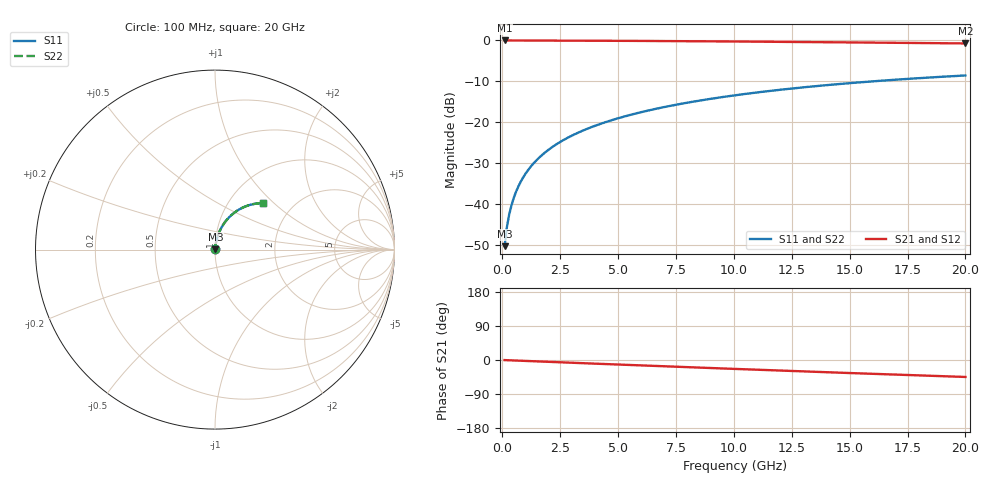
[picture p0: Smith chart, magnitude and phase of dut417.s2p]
! Touchstone file exported from HFSS 2026.1.0
!  File:  C:/ffzhzh/LocalFiles/Ansys_Project_Files/temp_train_TMRDL_417_1783005205_4048.aedt
!  Generated:  11:15:04 PM Jul  2, 2026
!  Design:  TMRDL
!  Project:  temp_train_TMRDL_417_1783005205_4048
! Variables:
!  h_bsmrdl = 2um
!  h_ox = 20um
!  h_rdl = 5um
!  h_sub = 80um
!  h_tmrdl = 5.68um
!  h_tsv = 80um
!  h_via = 3um
!  l_bsmrdl = 300um
!  l_sub = 1077.95um
!  l_tmrdl = 677.95um
!  m_sub = 200um
!  pitch = 56.86um
!  r_tsv = 6um
!  s_tmrdl = 10um
!  w_bsmrdl = 18um
!  w_sub = 500um
!  w_tmrdl = 27.27um
!  x_tsv_center1 = 691.585um
!  x_tsv_center2 = 1009.585um
!  x_tsv_center3 = 1714.805um
!  x_tsv_center4 = 2032.805um
!  x_tsv_center5 = 2738.025um
!  x_tsv_center6 = 3056.025um
# GHz S MA R 50.000000
! Terminal data exported
! Port[1] = TM_RDL1_1_T1
! Port[2] = TM_RDL1_1_T2
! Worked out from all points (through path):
!   200 points, 100 MHz to 20 GHz, reference 50 ohm
!   highest |S21| = -0.02 dB at 100 MHz (marker M1); lowest = -0.7 dB at 20 GHz (marker M2)
!   group delay of S21, straight-line fit = 6.22 ps
!   lowest |S11| = -50.2 dB at 100 MHz (marker M3), VSWR 1.01, Z = 50.2 + j0.253 ohm
!   |S11| at or under -10 dB: start of sweep to 15.99 GHz
!   |S22| runs from -50.2 to -8.6 dB; largest |S21 - S12| = 3.9e-14
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0.1  0.003079 55.1  0.9982 -0.3  0.9982 -0.3  0.003079 55.1
! Gamma 0 0 0 0
! Port Impedance 50 0 50 0
0.2  0.005291 68.4  0.9981 -0.5  0.9981 -0.5  0.005291 68.4
0.3  0.00754 73.7  0.998 -0.7  0.998 -0.7  0.00754 73.7
0.4  0.009798 76.6  0.9979 -1.0  0.9979 -1.0  0.009798 76.6
0.5  0.01207 78.4  0.9978 -1.2  0.9978 -1.2  0.01207 78.4
0.7  0.01664 80.4  0.9976 -1.7  0.9976 -1.7  0.01664 80.4
0.8  0.01893 81.0  0.9976 -2.0  0.9976 -2.0  0.01893 81.0
1  0.02353 81.6  0.9974 -2.4  0.9974 -2.4  0.02353 81.6
1.2  0.02812 81.9  0.9971 -2.9  0.9971 -2.9  0.02812 81.9
1.4  0.0327 81.9  0.9968 -3.4  0.9968 -3.4  0.0327 81.9
1.7  0.03955 81.7  0.9964 -4.1  0.9964 -4.1  0.03955 81.7
2  0.04636 81.3  0.9959 -4.9  0.9959 -4.9  0.04636 81.3
2.7  0.06208 80.1  0.9945 -6.5  0.9945 -6.5  0.06208 80.1
3.5  0.07974 78.5  0.9926 -8.4  0.9926 -8.4  0.07974 78.5
4.2  0.09495 77.0  0.9907 -10.1  0.9907 -10.1  0.09495 77.0
5  0.1121 75.3  0.9884 -12.0  0.9884 -12.0  0.1121 75.3
6.8  0.1496 71.5  0.9825 -16.1  0.9825 -16.1  0.1496 71.5
8.3  0.1799 68.2  0.9768 -19.6  0.9768 -19.6  0.1799 68.2
10.1  0.2147 64.4  0.9692 -23.7  0.9692 -23.7  0.2147 64.4
13.4  0.2742 57.3  0.9534 -30.9  0.9534 -30.9  0.2742 57.3
16.7  0.3271 50.5  0.9361 -38.0  0.9361 -38.0  0.3271 50.5
20  0.3733 43.9  0.9184 -44.8  0.9184 -44.8  0.3733 43.9
